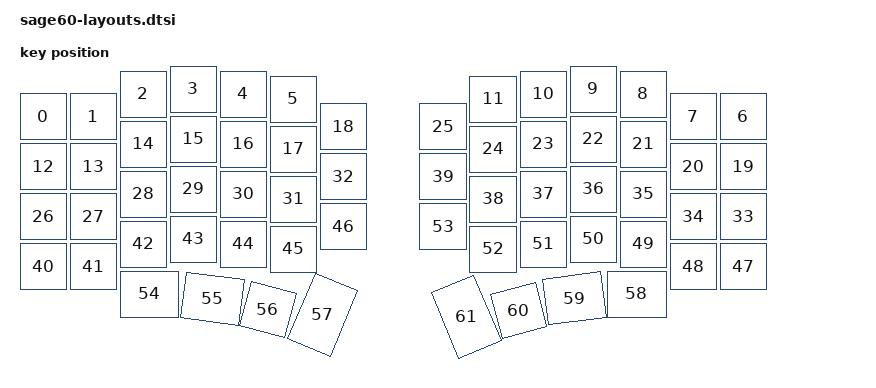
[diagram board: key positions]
#include <layouts/diwamoto/position_map.dtsi>
#include <physical_layouts.dtsi>

/ {
    diwamoto_sage60_layout: diwamoto_sage60_layout {
        compatible = "zmk,physical-layout";
        display-name = "LAYOUT";

        transform = <&default_transform>;
        kscan = <&kscan0>;

        keys  //                     w   h    x    y     rot    rx    ry
            = <&key_physical_attrs 100 100    0   55       0     0     0> // 0  row0,col0
            , <&key_physical_attrs 100 100  100   55       0     0     0> // 1  row0,col1
            , <&key_physical_attrs 100 100  200   10       0     0     0> // 2  row0,col2
            , <&key_physical_attrs 100 100  300    0       0     0     0> // 3  row0,col3
            , <&key_physical_attrs 100 100  400   10       0     0     0> // 4  row0,col4
            , <&key_physical_attrs 100 100  500   20       0     0     0> // 5  row0,col5
            , <&key_physical_attrs 100 100 1400   55       0     0     0> // 6  row0,col11
            , <&key_physical_attrs 100 100 1300   55       0     0     0> // 7  row0,col10
            , <&key_physical_attrs 100 100 1200   10       0     0     0> // 8  row0,col9
            , <&key_physical_attrs 100 100 1100    0       0     0     0> // 9  row0,col8
            , <&key_physical_attrs 100 100 1000   10       0     0     0> // 10 row0,col7
            , <&key_physical_attrs 100 100  900   20       0     0     0> // 11 row0,col6
            , <&key_physical_attrs 100 100    0  155       0     0     0> // 12 row1,col0
            , <&key_physical_attrs 100 100  100  155       0     0     0> // 13 row1,col1
            , <&key_physical_attrs 100 100  200  110       0     0     0> // 14 row1,col2
            , <&key_physical_attrs 100 100  300  100       0     0     0> // 15 row1,col3
            , <&key_physical_attrs 100 100  400  110       0     0     0> // 16 row1,col4
            , <&key_physical_attrs 100 100  500  120       0     0     0> // 17 row1,col5
            , <&key_physical_attrs 100 100  600   75       0     0     0> // 18 row1,col6
            , <&key_physical_attrs 100 100 1400  155       0     0     0> // 19 row1,col11
            , <&key_physical_attrs 100 100 1300  155       0     0     0> // 20 row1,col10
            , <&key_physical_attrs 100 100 1200  110       0     0     0> // 21 row1,col9
            , <&key_physical_attrs 100 100 1100  100       0     0     0> // 22 row1,col8
            , <&key_physical_attrs 100 100 1000  110       0     0     0> // 23 row1,col7
            , <&key_physical_attrs 100 100  900  120       0     0     0> // 24 row1,col6
            , <&key_physical_attrs 100 100  800   75       0     0     0> // 25 row1,col7
            , <&key_physical_attrs 100 100    0  255       0     0     0> // 26 row2,col0
            , <&key_physical_attrs 100 100  100  255       0     0     0> // 27 row2,col1
            , <&key_physical_attrs 100 100  200  210       0     0     0> // 28 row2,col2
            , <&key_physical_attrs 100 100  300  200       0     0     0> // 29 row2,col3
            , <&key_physical_attrs 100 100  400  210       0     0     0> // 30 row2,col4
            , <&key_physical_attrs 100 100  500  220       0     0     0> // 31 row2,col5
            , <&key_physical_attrs 100 100  600  175       0     0     0> // 32 row2,col6
            , <&key_physical_attrs 100 100 1400  255       0     0     0> // 33 row2,col11
            , <&key_physical_attrs 100 100 1300  255       0     0     0> // 34 row2,col10
            , <&key_physical_attrs 100 100 1200  210       0     0     0> // 35 row2,col9
            , <&key_physical_attrs 100 100 1100  200       0     0     0> // 36 row2,col8
            , <&key_physical_attrs 100 100 1000  210       0     0     0> // 37 row2,col7
            , <&key_physical_attrs 100 100  900  220       0     0     0> // 38 row2,col6
            , <&key_physical_attrs 100 100  800  175       0     0     0> // 39 row2,col7
            , <&key_physical_attrs 100 100    0  355       0     0     0> // 40 row3,col0
            , <&key_physical_attrs 100 100  100  355       0     0     0> // 41 row3,col1
            , <&key_physical_attrs 100 100  200  310       0     0     0> // 42 row3,col2
            , <&key_physical_attrs 100 100  300  300       0     0     0> // 43 row3,col3
            , <&key_physical_attrs 100 100  400  310       0     0     0> // 44 row3,col4
            , <&key_physical_attrs 100 100  500  320       0     0     0> // 45 row3,col5
            , <&key_physical_attrs 100 100  600  275       0     0     0> // 46 row3,col6
            , <&key_physical_attrs 100 100 1400  355       0     0     0> // 47 row3,col11
            , <&key_physical_attrs 100 100 1300  355       0     0     0> // 48 row3,col10
            , <&key_physical_attrs 100 100 1200  310       0     0     0> // 49 row3,col9
            , <&key_physical_attrs 100 100 1100  300       0     0     0> // 50 row3,col8
            , <&key_physical_attrs 100 100 1000  310       0     0     0> // 51 row3,col7
            , <&key_physical_attrs 100 100  900  320       0     0     0> // 52 row3,col6
            , <&key_physical_attrs 100 100  800  275       0     0     0> // 53 row3,col7
            , <&key_physical_attrs 125 100  200  410       0     0     0> // 54 row4,col2
            , <&key_physical_attrs 125 100  385  365     750     0     0> // 55 row4,col3
            , <&key_physical_attrs 100 100  560  295    1500     0     0> // 56 row4,col4
            , <&key_physical_attrs 100 150  705  155    2250     0     0> // 57 row4,col5
            , <&key_physical_attrs 125 100 1175  410       0     0     0> // 58 row4,col9
            , <&key_physical_attrs 125 100  980  560  (-750)     0     0> // 59 row4,col8
            , <&key_physical_attrs 100 100  790  685 (-1500)     0     0> // 60 row4,col7
            , <&key_physical_attrs 100 150  585  735 (-2250)     0     0> // 61 row4,col8
            ;
    };
};
    
&layouts_diwamoto_sage60_position_map {
    diwamoto_sage60_posmap: diwamoto_sage60 {
        physical-layout = <&diwamoto_sage60_layout>;
        positions
            = < 0  1  2  3  4  5        6  7  8  9 10 11>
            , <12 13 14 15 16 17 18 19 20 21 22 23 24 25>
            , <26 27 28 29 30 31 32 33 34 35 36 37 38 39>
            , <40 41 42 43 44 45 46 47 48 49 50 51 52 53>
            , <         54 55 56 57 58 59 60 61         >;
    };
};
